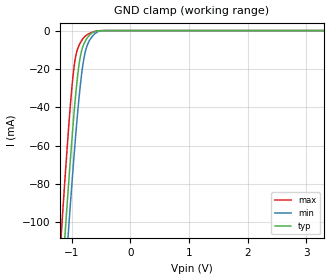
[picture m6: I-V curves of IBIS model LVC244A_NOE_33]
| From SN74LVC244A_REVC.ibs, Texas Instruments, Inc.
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[Model]   LVC244A_NOE_33
Model_type  Input
Vinl=0.8
Vinh=2.0
| variable   typ   min   max
C_comp   2.51pF   1.98pF   3.27pF
[Temperature Range]   40   100   -40
| Ambient temperature   25   85   -40
[Voltage range]   3.3   3   3.6
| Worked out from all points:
|   GND clamp passes 1 mA (typ) near -0.64 V on its own axis
[GND Clamp]
| LVC244A_NOE_33
|   Voltage   I(typ)   I(min)   I(max)
-5.5V     -2.303A    -2.296A    -2.31A
-1.185V   -137.1mA   -160.4mA   -108mA
-1.12V    -107.8mA   -131.4mA   -78.37mA
-1.105V   -101.2mA   -124.8mA   -71.74mA
-1.07V    -85.97mA   -109.6mA   -56.7mA
-1.055V   -79.59mA   -103.1mA   -50.5mA
-960mV    -42.03mA   -64.28mA   -18.31mA
-860mV    -14.34mA   -29.75mA   -6.633mA
-805mV    -7.737mA   -16.48mA   -3.993mA
-755mV    -4.658mA   -9.303mA   -2.51mA
-600mV    -473uA     -1.442mA   -357.6uA
3.3V      76.2pA     213.1pA    43.07pA
